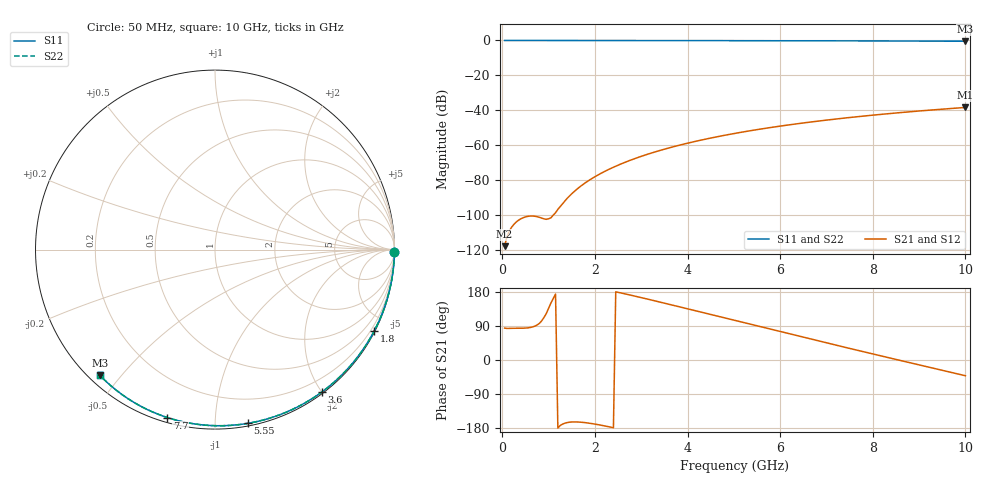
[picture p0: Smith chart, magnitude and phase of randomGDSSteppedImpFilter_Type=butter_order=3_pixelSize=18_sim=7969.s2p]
! freq	dB(S11)	phase(S11)	dB(S12)	phase(S12)
!  dB(S21)	phase(S21)	dB(S22)	phase(S22)
!S-par simulation data
#  GHz  S  DB  R 50
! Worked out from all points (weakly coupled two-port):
!   200 points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, 50 MHz to 10 GHz, reference 50 ohm
!   highest |S21| = -38.29 dB at 10 GHz (marker M1); lowest = -117.6 dB at 50 MHz (marker M2)
!   lowest |S11| = -0.4 dB at 10 GHz (marker M3), VSWR 38.80, Z = 1.54 - j22 ohm
!   |S11| at or under -10 dB: nowhere
!   |S22| runs from -0.4 to 0.0 dB; largest |S21 - S12| = 0
!   S11 on the Smith chart (normalised r, x): 50 MHz: open; 1.8 GHz: 0.04, -4.14; 3.6 GHz: 0.02, -2.00; 5.55 GHz: 0.02, -1.21; 7.7 GHz: 0.02, -0.76; 10 GHz: 0.03, -0.44
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0.05  -0.00 -0.8  -117.56 84.2  -117.56 84.2  -0.00 -0.8
0.45  -0.01 -6.9  -101.30 83.9  -101.30 83.9  -0.01 -6.9
0.9  -0.02 -13.7  -101.95 112.3  -101.95 112.3  -0.02 -13.7
1.75  -0.03 -26.4  -82.16 -164.8  -82.16 -164.8  -0.03 -26.4
1.8  -0.03 -27.2  -81.22 -165.5  -81.22 -165.5  -0.03 -27.2
1.85  -0.04 -27.9  -80.34 -166.3  -80.34 -166.3  -0.04 -27.9
1.9  -0.04 -28.6  -79.48 -167.2  -79.48 -167.2  -0.04 -28.6
2.05  -0.04 -30.9  -77.11 -170.2  -77.11 -170.2  -0.04 -30.9
2.25  -0.04 -33.8  -74.32 -174.9  -74.32 -174.9  -0.04 -33.8
2.65  -0.05 -39.6  -69.63 174.6  -69.63 174.6  -0.05 -39.6
3  -0.06 -44.6  -66.23 164.7  -66.23 164.7  -0.06 -44.6
3.4  -0.07 -50.3  -62.89 153.0  -62.89 153.0  -0.07 -50.3
3.6  -0.07 -53.1  -61.40 147.1  -61.40 147.1  -0.07 -53.1
4.3  -0.09 -62.7  -56.90 126.1  -56.90 126.1  -0.09 -62.7
5.05  -0.11 -72.8  -52.98 103.5  -52.98 103.5  -0.11 -72.8
5.55  -0.13 -79.3  -50.75 88.5  -50.75 88.5  -0.13 -79.3
6.1  -0.15 -86.3  -48.57 72.0  -48.57 72.0  -0.15 -86.3
6.7  -0.18 -93.8  -46.47 54.1  -46.47 54.1  -0.18 -93.8
7.7  -0.24 -105.9  -43.48 24.7  -43.48 24.7  -0.24 -105.9
8.35  -0.29 -113.5  -41.81 5.8  -41.81 5.8  -0.29 -113.5
9.15  -0.36 -122.8  -39.99 -17.2  -39.99 -17.2  -0.36 -122.8
10  -0.45 -132.4  -38.29 -41.5  -38.29 -41.5  -0.45 -132.4
